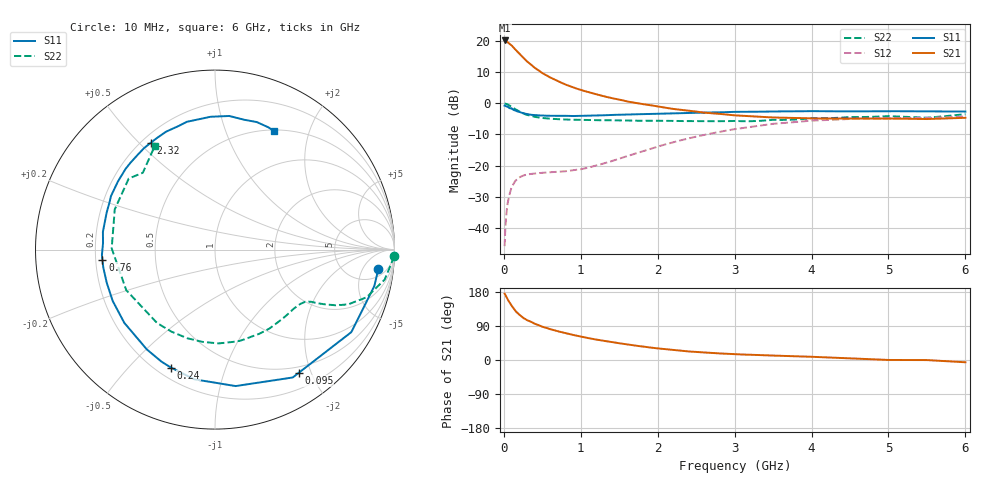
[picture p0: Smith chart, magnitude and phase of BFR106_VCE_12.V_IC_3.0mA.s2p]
! (c) 2015  Infineon Technologies AG, Munich
! Infineon Technologies  Discrete & RF Semiconductors
! BFR106
! VCE =  12. V,  IC =  3.0 mA
! Common Emitter S-Parameters:  Nov 2015
# GHz  S  MA  R  50
!  f  S11  S21  S12  S22
! GHz  MAG  ANG  MAG  ANG  MAG  ANG  MAG  ANG
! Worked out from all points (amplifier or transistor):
!   210 points, 10 MHz to 6 GHz, reference 50 ohm
!   highest |S21| = 20.2 dB at 10 MHz (marker M1)
!   |S21| within 3 dB of that: start of sweep to 153.4 MHz
!   unconditionally stable (mu >= 1): 722.6 MHz to 1.821 GHz; 4.465 GHz to end of sweep
!   at 185 MHz: K = 0.29, MSG = 20.2 dB, |S12| = -24.1 dB
!   at 1.52 GHz: K = 1.13, MAG = 7.2 dB, |S12| = -17.6 dB
!   at 6 GHz: K = 1.02, MAG = -1.0 dB, |S12| = -4.2 dB
!   S11 on the Smith chart (normalised r, x): 10 MHz: 8, -11; 95 MHz: 0.41, -1.81; 240 MHz: 0.26, -0.66; 760 MHz: 0.23, -0.04; 2.32 GHz: 0.24, +0.54; 6 GHz: 0.52, +1.49
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0.01  0.9169 -6.6  10.19 175.1  0.0051 89.3  0.9955 -2.1
0.025  0.9005 -15.9  9.964 169.8  0.0126 82.1  0.9819 -5.1
0.05  0.8878 -31.2  9.567 159.5  0.0251 73.7  0.96 -10.0
0.095  0.8301 -55.9  8.627 145.2  0.0428 61.7  0.8919 -16.7
0.1  0.8337 -58.7  8.56 143.4  0.0448 61.0  0.8852 -17.5
0.15  0.769 -81.4  7.288 129.2  0.0571 49.7  0.802 -22.4
0.2  0.7316 -99.0  6.299 119.7  0.0646 43.7  0.7394 -24.8
0.24  0.7015 -110.5  5.585 113.1  0.0682 40.1  0.6974 -26.1
0.26  0.6916 -115.6  5.274 110.1  0.0697 38.7  0.6799 -26.6
0.3  0.6733 -124.4  4.71 105.3  0.0722 36.8  0.6518 -27.4
0.4  0.6495 -141.1  3.728 95.8  0.075 34.1  0.6064 -28.6
0.5  0.6378 -153.4  3.057 87.8  0.0767 34.2  0.581 -30.0
0.6  0.6308 -163.1  2.607 81.5  0.0783 35.9  0.5661 -32.0
0.76  0.6298 -174.7  2.106 73.0  0.0805 40.5  0.5517 -35.6
1.02  0.632 169.9  1.611 61.1  0.0886 51.1  0.5414 -42.7
1.4  0.6518 152.8  1.212 47.4  0.1178 64.7  0.5344 -55.2
2.02  0.6799 130.3  0.882 30.2  0.205 70.1  0.5233 -79.9
2.32  0.6947 120.9  0.783 24.2  0.2585 67.6  0.5186 -93.7
3.1  0.7294 100.3  0.631 14.5  0.4002 53.3  0.516 -133.8
4.1  0.7464 82.6  0.57 7.7  0.5327 30.9  0.5744 175.0
5.1  0.7464 70.8  0.568 0.0  0.5799 12.5  0.6148 139.1
6  0.737 63.3  0.585 -6.0  0.6148 0.4  0.6682 120.1
